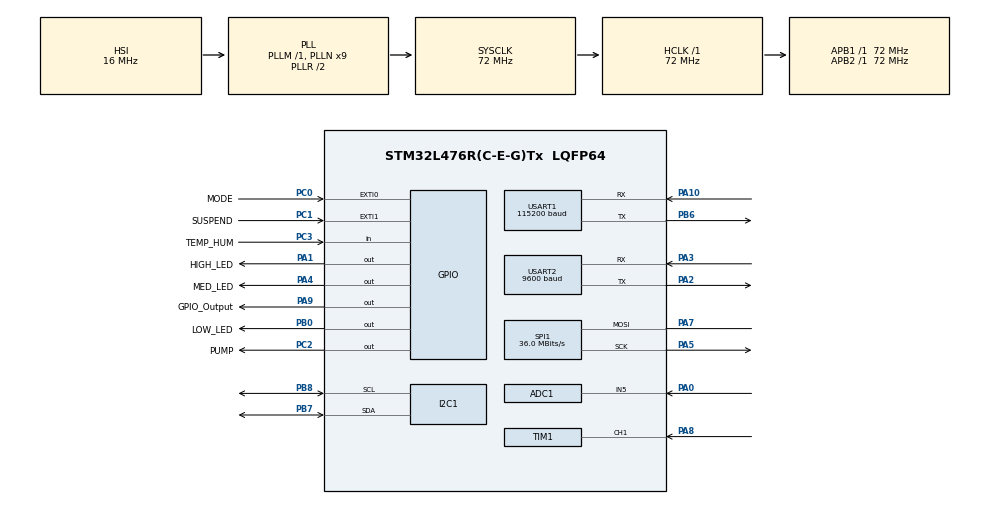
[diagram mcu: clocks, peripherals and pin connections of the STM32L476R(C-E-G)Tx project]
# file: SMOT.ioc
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ADC1.Channel-1\#ChannelRegularConversion=ADC_CHANNEL_5
ADC1.NbrOfConversionFlag=1
ADC1.OffsetNumber-1\#ChannelRegularConversion=ADC_OFFSET_NONE
ADC1.Rank-1\#ChannelRegularConversion=1
ADC1.SamplingTime-1\#ChannelRegularConversion=ADC_SAMPLETIME_2CYCLES_5
ADC1.master=1
FREERTOS.Mutexes01=uartRecieveMutex,Dynamic,NULL
FREERTOS.Tasks01=defaultTask,24,128,StartDefaultTask,Default,NULL,Dynamic,NULL,NULL;suspendButton,48,128,Suspend,Default,NULL,Dynamic,NULL,NULL;readSensors,24,128,readSensor,Default,NULL,Dynamic,NULL,NULL;modeSelect,24,128,modeSelectButt,Default,NULL,Dynamic,NULL,NULL;readUartRXBuffe,8,128,readUartTask,Default,NULL,Dynamic,NULL,NULL
FREERTOS.configTOTAL_HEAP_SIZE=10000
FREERTOS.configUSE_NEWLIB_REENTRANT=1
I2C1.Timing=0x10808DD3
Mcu.Family=STM32L4
Mcu.Name=STM32L476R(C-E-G)Tx
Mcu.Package=LQFP64
NVIC.EXTI0_IRQn=true\:5\:0\:false\:false\:true\:true\:true\:true\:true
NVIC.EXTI1_IRQn=true\:5\:0\:false\:false\:true\:true\:true\:true\:true
NVIC.PriorityGroup=NVIC_PRIORITYGROUP_4
NVIC.TIM1_CC_IRQn=true\:5\:0\:false\:false\:true\:true\:true\:true\:true
NVIC.TIM1_UP_TIM16_IRQn=true\:5\:0\:false\:false\:true\:true\:true\:true\:true
NVIC.TIM2_IRQn=true\:15\:0\:false\:false\:true\:false\:false\:true\:true
NVIC.TIM3_IRQn=true\:5\:0\:false\:false\:true\:true\:true\:true\:true
NVIC.TimeBase=TIM2_IRQn
NVIC.TimeBaseIP=TIM2
NVIC.USART1_IRQn=true\:5\:0\:false\:false\:true\:true\:true\:true\:true
PA0.Signal=ADCx_IN5
PA1.GPIO_Label=HIGH_LED
PA1.PinState=GPIO_PIN_RESET
PA1.Signal=GPIO_Output
PA10.Mode=Asynchronous
PA10.Signal=USART1_RX
PA13\ (JTMS-SWDIO).Mode=Serial_Wire
PA13\ (JTMS-SWDIO).Signal=SYS_JTMS-SWDIO
PA14\ (JTCK-SWCLK).Mode=Serial_Wire
PA14\ (JTCK-SWCLK).Signal=SYS_JTCK-SWCLK
PA2.Mode=Asynchronous
PA2.Signal=USART2_TX
PA3.Mode=Asynchronous
PA3.Signal=USART2_RX
PA4.GPIO_Label=MED_LED
PA4.Signal=GPIO_Output
PA5.Mode=Simplex_Bidirectional_Master
PA5.Signal=SPI1_SCK
PA7.Mode=Simplex_Bidirectional_Master
PA7.Signal=SPI1_MOSI
PA8.Signal=S_TIM1_CH1
PA9.GPIO_Label=GPIO_Output
PA9.Signal=GPIO_Output
PB0.GPIO_Label=LOW_LED
PB0.PinState=GPIO_PIN_RESET
PB0.Signal=GPIO_Output
PB6.Mode=Asynchronous
PB6.Signal=USART1_TX
PB7.Mode=I2C
PB7.Signal=I2C1_SDA
PB8.Mode=I2C
PB8.Signal=I2C1_SCL
PC0.GPIO_Label=MODE
PC0.GPIO_ModeDefaultEXTI=GPIO_MODE_IT_RISING
PC0.GPIO_PuPd=GPIO_NOPULL
PC0.Signal=GPXTI0
PC1.GPIO_Label=SUSPEND
PC1.GPIO_PuPd=GPIO_PULLUP
PC1.Signal=GPXTI1
PC2.GPIO_Label=PUMP
PC2.Signal=GPIO_Output
PC3.GPIO_Label=TEMP_HUM
PC3.Signal=GPIO_Input
PH0-OSC_IN\ (PH0).Mode=HSE-External-Oscillator
PH0-OSC_IN\ (PH0).Signal=RCC_OSC_IN
PH1-OSC_OUT\ (PH1).Mode=HSE-External-Oscillator
PH1-OSC_OUT\ (PH1).Signal=RCC_OSC_OUT
ProjectManager.HeapSize=0x200
ProjectManager.StackSize=0x400
ProjectManager.TargetToolchain=STM32CubeIDE
RCC.ADCFreq_Value=64000000
RCC.AHBFreq_Value=72000000
RCC.APB1Freq_Value=72000000
RCC.APB1TimFreq_Value=72000000
RCC.APB2Freq_Value=72000000
RCC.APB2TimFreq_Value=72000000
RCC.CortexFreq_Value=72000000
RCC.HCLKFreq_Value=72000000
RCC.HSE_VALUE=8000000
RCC.HSI_VALUE=16000000
RCC.LSE_VALUE=32768
RCC.MSI_VALUE=4000000
RCC.PLLN=9
RCC.PLLSourceVirtual=RCC_PLLSOURCE_HSI
RCC.PREFETCH_ENABLE=1
RCC.SYSCLKFreq_VALUE=72000000
RCC.SYSCLKSource=RCC_SYSCLKSOURCE_PLLCLK
RCC.USBFreq_Value=64000000
RCC.VCOOutputFreq_Value=144000000
SH.ADCx_IN5.0=ADC1_IN5,IN5-Single-Ended
SH.S_TIM1_CH1.0=TIM1_CH1,Input_Capture1_from_TI1
SPI1.CalculateBaudRate=36.0 MBits/s
SPI1.Direction=SPI_DIRECTION_1LINE
SPI1.Mode=SPI_MODE_MASTER
SPI1.VirtualType=VM_MASTER
TIM1.Channel-Input_Capture1_from_TI1=TIM_CHANNEL_1
TIM1.Period=0xffff-1
TIM1.Prescaler=72-1
TIM16.AutoReloadPreload=TIM_AUTORELOAD_PRELOAD_DISABLE
TIM16.Period=1000
TIM16.Prescaler=7200 - 1
TIM3.Period=50
TIM3.Prescaler=32000
USART1.BaudRate=115200
USART1.VirtualMode-Asynchronous=VM_ASYNC
USART2.BaudRate=9600
USART2.VirtualMode-Asynchronous=VM_ASYNC
VP_FREERTOS_VS_CMSIS_V2.Mode=CMSIS_V2
VP_SYS_VS_tim2.Mode=TIM2
VP_TIM16_VS_ClockSourceINT.Mode=Enable_Timer
VP_TIM3_VS_ClockSourceINT.Mode=Internal
VP_TIM3_VS_ClockSourceITR.Mode=TriggerSource_ITR0
board=NUCLEO-L476RG

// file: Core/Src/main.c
/* USER CODE BEGIN Header */
/**
 ******************************************************************************
 * @file           : main.c
 * @brief          : Main program body
 ******************************************************************************
 * @attention
 *
 * Copyright (c) 2023 STMicroelectronics.
 * All rights reserved.
 *
 * This software is licensed under terms that can be found in the LICENSE file
 * in the root directory of this software component.
 * If no LICENSE file comes with this software, it is provided AS-IS.
 *
 ******************************************************************************
 */
/* USER CODE END Header */
#include "main.h"
#include "cmsis_os.h"
#include "adc.h"
#include "i2c.h"
#include "spi.h"
#include "tim.h"
#include "usart.h"
#include "gpio.h"

/* USER CODE BEGIN Includes */
#include <stdio.h>
#include <test.h>
#include "func.h"
#include <stm32l4xx_hal_conf.h>

/* USER CODE END Includes */

/* USER CODE BEGIN PTD */
//#define RUN_TEST_PROGRAM
/* USER CODE END PTD */

/* USER CODE BEGIN PD */
//#define RUN_TEST_PROGRAM
/* USER CODE END PD */

/* USER CODE BEGIN PM */
/*ADC_HandleTypeDef hadc1;

  I2C_HandleTypeDef hi2c1;

  TIM_HandleTypeDef htim1;*/
/* USER CODE END PM */

void SystemClock_Config(void);
void MX_FREERTOS_Init(void);

/* USER CODE BEGIN 0 */
uint16_t distance;
//time value for manual watering
uint8_t pumpSeconds = 1;
//time value for automatic watering
uint8_t pumpSecondsAutomatic = 1;
//"bool" for manual watering
uint8_t manualWatering = 0;
//"bool" for automatic watering
uint8_t automaticWatering = 0;

uint8_t pumpTimerCount = 0;

uint8_t testTimer= 0;
/* USER CODE END 0 */

int main(void)
{
  /* USER CODE BEGIN 1 */

    //char msg[10];
  /* USER CODE END 1 */

  /* MCU Configuration--------------------------------------------------------*/

  /* Reset of all peripherals, Initializes the Flash interface and the Systick. */
  HAL_Init();

  /* Configure the system clock */
  SystemClock_Config();

  /* Initialize all configured peripherals */
  MX_GPIO_Init();
  MX_TIM1_Init();
  MX_ADC1_Init();
  MX_I2C1_Init();
  MX_SPI1_Init();
  MX_USART1_UART_Init();
  MX_USART2_UART_Init();
  MX_TIM16_Init();
  MX_TIM3_Init();
  /* USER CODE BEGIN 2 */
    // HAL_ADCEx_Calibration_Start(&hadc1);

    HAL_TIM_IC_Start_IT(&htim1, TIM_CHANNEL_1);
#ifdef RUN_TEST_PROGRAM
    Test_Program();
#else
#endif

  /* USER CODE END 2 */

  /* Init scheduler */
  osKernelInitialize();  /* Call init function for freertos objects (in freertos.c) */
  MX_FREERTOS_Init();

  /* Start scheduler */
  osKernelStart();
  /* We should never get here as control is now taken by the scheduler */
  /* Infinite loop */
    while (1)
    {

    }
}

void SystemClock_Config(void)
{
  RCC_OscInitTypeDef RCC_OscInitStruct = {0};
  RCC_ClkInitTypeDef RCC_ClkInitStruct = {0};

  /** Configure the main internal regulator output voltage
  */
  if (HAL_PWREx_ControlVoltageScaling(PWR_REGULATOR_VOLTAGE_SCALE1) != HAL_OK)
  {
    Error_Handler();
  }

  /** Initializes the RCC Oscillators according to the specified parameters
  * in the RCC_OscInitTypeDef structure.
  */
  RCC_OscInitStruct.OscillatorType = RCC_OSCILLATORTYPE_HSI;
  RCC_OscInitStruct.HSIState = RCC_HSI_ON;
  RCC_OscInitStruct.HSICalibrationValue = RCC_HSICALIBRATION_DEFAULT;
  RCC_OscInitStruct.PLL.PLLState = RCC_PLL_ON;
  RCC_OscInitStruct.PLL.PLLSource = RCC_PLLSOURCE_HSI;
  RCC_OscInitStruct.PLL.PLLM = 1;
  RCC_OscInitStruct.PLL.PLLN = 9;
  RCC_OscInitStruct.PLL.PLLP = RCC_PLLP_DIV7;
  RCC_OscInitStruct.PLL.PLLQ = RCC_PLLQ_DIV2;
  RCC_OscInitStruct.PLL.PLLR = RCC_PLLR_DIV2;
  if (HAL_RCC_OscConfig(&RCC_OscInitStruct) != HAL_OK)
  {
    Error_Handler();
  }

  /** Initializes the CPU, AHB and APB buses clocks
  */
  RCC_ClkInitStruct.ClockType = RCC_CLOCKTYPE_HCLK|RCC_CLOCKTYPE_SYSCLK
                              |RCC_CLOCKTYPE_PCLK1|RCC_CLOCKTYPE_PCLK2;
  RCC_ClkInitStruct.SYSCLKSource = RCC_SYSCLKSOURCE_PLLCLK;
  RCC_ClkInitStruct.AHBCLKDivider = RCC_SYSCLK_DIV1;
  RCC_ClkInitStruct.APB1CLKDivider = RCC_HCLK_DIV1;
  RCC_ClkInitStruct.APB2CLKDivider = RCC_HCLK_DIV1;

  if (HAL_RCC_ClockConfig(&RCC_ClkInitStruct, FLASH_LATENCY_4) != HAL_OK)
  {
    Error_Handler();
  }
}

/* USER CODE BEGIN 4 */
int _write(int file, char * ptr, int len)
{
    int DataIdx;

    for(DataIdx = 0; DataIdx < len; DataIdx++)
    {
        ITM_SendChar(*ptr++);
    }

    return len;

}
uint8_t test1 = 1;
bool state = true;
void HAL_GPIO_EXTI_Callback(uint16_t GPIO_Pin)
{

	if(GPIO_Pin == GPIO_PIN_0 && state == true){
		turnOnLed(4);
			testTimer++;
		HAL_TIM_Base_Start_IT(&htim3);
		state = false;

	}
	if(GPIO_Pin == GPIO_PIN_1 && state == true){

			HAL_TIM_Base_Start_IT(&htim3);
			state = false;

		}

	else{

		__NOP();
	}

}

/* USER CODE END 4 */

void HAL_TIM_PeriodElapsedCallback(TIM_HandleTypeDef *htim)
{
  if (htim->Instance == TIM2) {
    HAL_IncTick();
  }
  /* USER CODE BEGIN Callback 1 */
    if(htim == &htim16)
    {
        pumpTimerCount++;
        if(manualWatering == 1)
        {
            //manual watering
            if(pumpTimerCount >= pumpSeconds)
            {

                pumpTimerCount = 0;
                HAL_TIM_Base_Stop(&htim16);
                manualWatering = 0;

                stopPump();
                //HAL_TIM_Base_Start(&htim16);
            }
            return;
        }else if(manualWatering == 0 && automaticWatering == 1)
        {
            //automatic watering
            if(pumpTimerCount >= pumpSecondsAutomatic)
            {
                stopPump();
                pumpTimerCount = 0;
                HAL_TIM_Base_Stop(&htim16);
            }
            return;
        }
        stopPump();
        pumpTimerCount = 0;
        HAL_TIM_Base_Stop(&htim16);
    }

    if(htim == &htim3){
    	if(HAL_GPIO_ReadPin(MODE_GPIO_Port, MODE_Pin) == GPIO_PIN_RESET){
    			//HAL_GPIO_TogglePin(MODE_GPIO_Port, MODE_Pin);
    			state = true;
    			updateLED();
    			HAL_TIM_Base_Stop_IT(&htim3);

    		}
    	if(HAL_GPIO_ReadPin(SUSPEND_GPIO_Port, SUSPEND_Pin) == GPIO_PIN_RESET){
    	    			//HAL_GPIO_TogglePin(MODE_GPIO_Port, MODE_Pin);
    	    	state = true;
    	    	calibrateUS();
    	    	HAL_TIM_Base_Stop_IT(&htim3);
    	    }
    }
  /* USER CODE END Callback 1 */
}

void Error_Handler(void)
{
    __disable_irq();
    while (1)
    {
    }
}

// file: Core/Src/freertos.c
/* USER CODE BEGIN Header */
/**
 ******************************************************************************
 * File Name          : freertos.c
 * Description        : Code for freertos applications
 ******************************************************************************
 * @attention
 *
 * Copyright (c) 2023 STMicroelectronics.
 * All rights reserved.
 *
 * This software is licensed under terms that can be found in the LICENSE file
 * in the root directory of this software component.
 * If no LICENSE file comes with this software, it is provided AS-IS.
 *
 ******************************************************************************
 */
/* USER CODE END Header */

#include "FreeRTOS.h"
#include "task.h"
#include "main.h"
#include "cmsis_os.h"

/* USER CODE BEGIN Includes */
#include <string.h>
#include <stdio.h>
#include <stdbool.h>
#include <func.h>
#include <uart.h>
#include <test.h>
#include <stm32l4xx.h>
/* USER CODE END Includes */

/* USER CODE BEGIN Variables */
uint8_t uartDataToSend[7];
const int BUF_SIZE = 12;
uint8_t uartRecievedDataBeforeFiltering[12];
uint8_t uartRecievedData[7];
uint8_t currentMoistLevel;
uint8_t currentWaterLevel;

uint8_t targetMoisture = 0;
// uint8_t pumpTime = 0;
uint8_t pumpTrigger = 0;
uint8_t test = 1;
uint8_t suspend = 0;

uint8_t LOW_LED = 20;
uint8_t MED_LED = 40;
uint8_t HIGH_LED = 60;
uint8_t ledCase = 1;

void waterPlantTask(void *argument);
void uartParser();

// uint8_t motorRunning = 0;
/* USER CODE END Variables */
/* Definitions for defaultTask */
osThreadId_t defaultTaskHandle;
const osThreadAttr_t defaultTask_attributes = {
  .name = "defaultTask",
  .stack_size = 128 * 4,
  .priority = (osPriority_t) osPriorityNormal,
};
/* Definitions for suspendButton */
osThreadId_t suspendButtonHandle;
const osThreadAttr_t suspendButton_attributes = {
  .name = "suspendButton",
  .stack_size = 128 * 4,
  .priority = (osPriority_t) osPriorityRealtime,
};
/* Definitions for readSensors */
osThreadId_t readSensorsHandle;
const osThreadAttr_t readSensors_attributes = {
  .name = "readSensors",
  .stack_size = 128 * 4,
  .priority = (osPriority_t) osPriorityNormal,
};
/* Definitions for modeSelect */
osThreadId_t modeSelectHandle;
const osThreadAttr_t modeSelect_attributes = {
  .name = "modeSelect",
  .stack_size = 128 * 4,
  .priority = (osPriority_t) osPriorityNormal,
};
/* Definitions for readUartRXBuffe */
osThreadId_t readUartRXBuffeHandle;
const osThreadAttr_t readUartRXBuffe_attributes = {
  .name = "readUartRXBuffe",
  .stack_size = 128 * 4,
  .priority = (osPriority_t) osPriorityLow,
};
/* Definitions for uartRecieveMutex */
osMutexId_t uartRecieveMutexHandle;
const osMutexAttr_t uartRecieveMutex_attributes = {
  .name = "uartRecieveMutex"
};

/* USER CODE BEGIN FunctionPrototypes */
osThreadId_t waterPlantHandle;

const osThreadAttr_t waterPlant_attributes = {
    .name = "waterPlant",
    .stack_size = 128 * 4,
    .priority = (osPriority_t) osPriorityNormal,
};

osMutexId_t global_mutex_id;
const osMutexAttr_t Thread_Mutex_attr = {
    "myThreadMutex",     // human readable mutex name
    osMutexPrioInherit,  // attr_bits
    NULL,                // memory for control block
    0U                   // size for control block
};

/* USER CODE END FunctionPrototypes */

void StartDefaultTask(void *argument);
void Suspend(void *argument);
void readSensor(void *argument);
void modeSelectButt(void *argument);
void readUartTask(void *argument);

void MX_FREERTOS_Init(void); /* (MISRA C 2004 rule 8.1) */

void MX_FREERTOS_Init(void) {
  /* Create the mutex(es) */
  /* creation of uartRecieveMutex */
  uartRecieveMutexHandle = osMutexNew(&uartRecieveMutex_attributes);

  /* Create the thread(s) */
  /* creation of defaultTask */
  defaultTaskHandle = osThreadNew(StartDefaultTask, NULL, &defaultTask_attributes);

  /* creation of suspendButton */
  suspendButtonHandle = osThreadNew(Suspend, NULL, &suspendButton_attributes);

  /* creation of readSensors */
  readSensorsHandle = osThreadNew(readSensor, NULL, &readSensors_attributes);

  /* creation of modeSelect */
  modeSelectHandle = osThreadNew(modeSelectButt, NULL, &modeSelect_attributes);

  /* creation of readUartRXBuffe */
  readUartRXBuffeHandle = osThreadNew(readUartTask, NULL, &readUartRXBuffe_attributes);

  /* USER CODE BEGIN RTOS_THREADS */
    waterPlantHandle = osThreadNew(waterPlantTask, NULL, &waterPlant_attributes);
    /* add threads, ... */
  /* USER CODE END RTOS_THREADS */

}

void StartDefaultTask(void *argument)
{
  /* USER CODE BEGIN StartDefaultTask */

    uartDataToSend[0] = 254;

    uartDataToSend[6] = 127;
    TickType_t xLastWakeTime;
    const TickType_t xFrequency = 75;
    // Initialise the xLastWakeTime variable with the current time.
    xLastWakeTime = xTaskGetTickCount();
    /* Infinite loop */
    for(;;)
    {
    	test = 2;
        // Wait for the next cycle.
        vTaskDelayUntil( &xLastWakeTime, xFrequency );

        osMutexAcquire(uartRecieveMutexHandle, osWaitForever);
        uartTransmit(uartDataToSend);
        osMutexRelease(uartRecieveMutexHandle);
        uartRecieve(uartRecievedDataBeforeFiltering);
        //uartRecieve(uartRecievedData);
        if(pumpTrigger == 1 && motorRunning == 0 && manualWatering == 1)
        {
            runPump(pumpSeconds);
            //reset all pumpTrigger values
            //pumpTrigger = 0;
            //uartRecievedData[2] = 0;
        }
        //osMutexAcquire(uartRecieveMutexHandle, osWaitForever);

        osDelay(1);
    }
  /* USER CODE END StartDefaultTask */
}

void Suspend(void *argument)
{
    for(;;)
    {
        osDelay(1);
    }
}

void readSensor(void *argument)
{
  /* USER CODE BEGIN readSensor */
    TickType_t xLastWakeTime;
    const TickType_t xFrequency = 10;
    // Initialise the xLastWakeTime variable with the current time.
    xLastWakeTime = xTaskGetTickCount();
    /* Infinite loop */
    for(;;)
    {
    	test = 8;
        vTaskDelayUntil( &xLastWakeTime, xFrequency );
        /* currentMoistLevel = getSoil(&hadc1); */
        currentMoistLevel = 4;

        currentWaterLevel = getWaterPercent();

        motorRunning = (uint8_t) HAL_GPIO_ReadPin(PUMP_GPIO_Port, PUMP_Pin);

        osMutexAcquire(uartRecieveMutexHandle, osWaitForever);
        uartDataToSend[1] = getSoil(&hadc1);
        uartDataToSend[2] = currentWaterLevel;
        uartDataToSend[5] = motorRunning;
        osMutexRelease(uartRecieveMutexHandle);

        osDelay(1);
    }
  /* USER CODE END readSensor */
}

void modeSelectButt(void *argument)
{
    for(;;)
    {
        osDelay(1);
    }
}

void readUartTask(void *argument)
{
  /* USER CODE BEGIN readUartTask */

    TickType_t xLastWakeTime;
    const TickType_t xFrequency = 5;
    // Initialise the xLastWakeTime variable with the current time.
    xLastWakeTime = xTaskGetTickCount();
    bool readyForTrigger = true;
    /* Infinite loop */
    for(;;)
    {
    	//test = 4;
        vTaskDelayUntil( &xLastWakeTime, xFrequency );
        //osMutexAcquire(uartRecieveMutexHandle, osWaitForever);
        uartParser();
        osMutexAcquire(global_mutex_id, osWaitForever);
        targetMoisture = uartRecievedData[0];

        pumpSeconds = uartRecievedData[1];

        pumpTrigger = uartRecievedData[2];
        osMutexRelease(global_mutex_id);
        if(pumpTrigger == 1 && readyForTrigger)
        {
            manualWatering = 1;
        }
        if(pumpTrigger == 1)
        {
            readyForTrigger = false;
        }else if(pumpTrigger == 0 && !motorRunning && manualWatering == 0)
        {
            readyForTrigger = true;
        }

        /* if(pumpTrigger == 1 && !motorRunning) */
        //osMutexRelease(uartRecieveMutexHandle);
        automaticWatering = uartRecievedData[3];

        osDelay(1);
    }
  /* USER CODE END readUartTask */
}

/* USER CODE BEGIN Application */
void HAL_UART_RxCpltCallback(UART_HandleTypeDef *huart)
{
    //osMutexRelease(uartRecieveMutexHandle);
}

void waterPlantHelper(uint8_t curMoist, uint8_t waterLevel, int time_between_waterings, int targetMoistureCopy, float *iTerm, int* previous_error);

float iTerm = 0;
void waterPlantTask(void *argument)
{
  osDelay(5); // waiting abit before starting just in case. :)
  // initializing some variables

    int previous_error = 0;
    //int current_moisture = 0; trying to use global instead
    int moisture_target; //inställningen som bestämmer hur mycket fukt det skall vara

  int time_between_waterings = 5000; // 15 min in microseconds
  TickType_t xLastWakeTime;
  const TickType_t xFrequency = 5000; // time between waterings = 15 min in miliseconds
  xLastWakeTime = xTaskGetTickCount();
  //int previous_error;
  for (;;)
  {
  /* test = 77; */
    vTaskDelayUntil(&xLastWakeTime, xFrequency);
    // writing global variables into locals
    osMutexAcquire(global_mutex_id, osWaitForever);
    uint8_t curMoist = getSoil(&hadc1);
    uint8_t waterLevel = currentWaterLevel;
    uint8_t targetMoistureCopy = targetMoisture;
    osMutexRelease(global_mutex_id);

    if(automaticWatering && !manualWatering)
    {
        waterPlantHelper(curMoist, waterLevel, time_between_waterings, targetMoistureCopy, &iTerm, &previous_error);
    }
    osDelay(1);
  }
}

uint8_t output = 0;
void waterPlantHelper(uint8_t curMoist, uint8_t waterLevel, int time_between_waterings, int targetMoistureCopy, float *iTerm, int* previous_error)
{
  float pK = 1.0;      // inställing som bestämmer hur mycket P värdet påverkar slutvärdet
  float iK = 0.00000; // inställning som bestämmer hur mycket I värdet påverkar slutvärdet
  float iMax = 30;     // i_max värde så att den inte gör något knäppt
  float scalar = 0.6;  // konverteringsfaktor för att konvertera från output till sekunder pumpande

  // output;

  if (curMoist >= targetMoistureCopy)
  { // reset iTerm when target reached as it is not needed.
    *iTerm *= 0.8f;
  }

  /* if (waterLevel > 4 && curMoist < targetMoistureCopy) */
  if (curMoist < targetMoistureCopy)
  { // if water level is below 4 cm and moisture is below target
    int error = targetMoistureCopy - curMoist;
    int pTerm = pK * error;
    *iTerm += ((*previous_error + error) * 0.5f * time_between_waterings) * iK;
    if (*iTerm > iMax)
    {
      *iTerm = iMax;
    }
    output = (pTerm + *iTerm) * scalar;
    if (output <= 0 || output > 20000)
    { // kan inte köra pumpen negativa sekunder och inte för många heller
      output = 0;
    }
        runPump(output);
    *previous_error = error;
  }

}

uint8_t startBlock = 255;
/* uint8_t endBlock = 255; */
bool foundStart = false;
/* bool foundEnd = false; */
void uartParser()
{
    //uint8_t startBlock = 255;

foundStart = false;
/* foundEnd = false; */

    for(int i = 0; i < BUF_SIZE; i++)
    {
        if(uartRecievedDataBeforeFiltering[i] == 254 && !foundStart)
        {
            startBlock = i+1;
            foundStart = true;
            break;
        }
    }
    /* if(foundStart) */
    /* { */
    /*     for(int i = startBlock; i < BUF_SIZE; i++) */
    /*     { */
    /*         if(i == startBlock + 5 && uartRecievedDataBeforeFiltering[i] == 254) */
    /*         { */
    /*             endBlock = i; */
    /*             foundEnd = true; */
    /*             break; */
    /*         } */
    /*     } */
    /* } */

    if(foundStart)
    {
        for(int i = 0; i < BUF_SIZE; i++)
        {
            uartRecievedData[i] = uartRecievedDataBeforeFiltering[startBlock + i];
        }
    }
}

void updateLED()
{

	if(targetMoisture <= LOW_LED){
		ledCase = 1;
	}
	else if( LOW_LED <= targetMoisture && targetMoisture <= HIGH_LED){
			ledCase = 2;
		}
	else if(HIGH_LED <= targetMoisture){
			ledCase = 3;
		}
	turnOnLed(ledCase);
}

/* USER CODE END Application */
